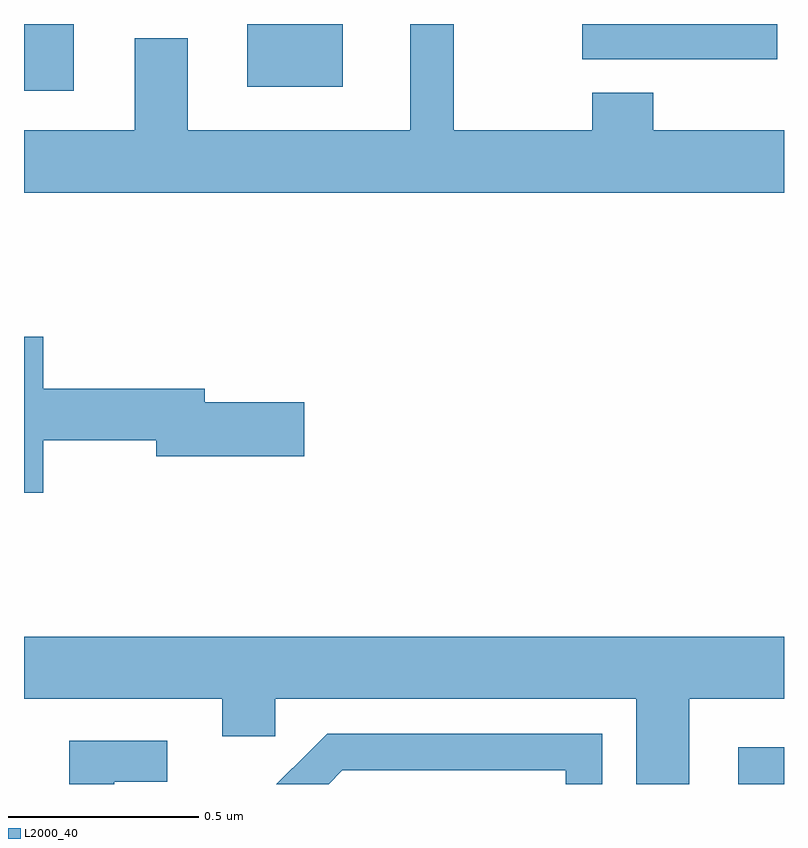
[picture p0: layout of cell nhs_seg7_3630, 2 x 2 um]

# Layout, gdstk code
import gdstk
lib = gdstk.Library(unit=1e-6, precision=1e-09)
def R(c, l, rs):  # rectangles x0, y0, x1, y1
    for r in rs: c.add(gdstk.rectangle(r[:2], r[2:], *l))
def P(c, l, *ps):  # polygons
    for p in ps: c.add(gdstk.Polygon(p, *l))
L2000_40 = (2000, 40)

nhs_seg7_3630 = lib.new_cell('nhs_seg7_3630')
R(nhs_seg7_3630, L2000_40, [(162.879,1059,163,1059.097), (161,1060.824,161.131,1061), (161.588,1060.835,161.839,1061), (162.469,1060.907,162.982,1061)])
P(nhs_seg7_3630, L2000_40, [(163,1060.72),(162.656,1060.72),(162.656,1060.819),(162.496,1060.819),(162.496,1060.72),(162.131,1060.72),(162.131,1061),(162.017,1061),(162.017,1060.72),(161.431,1060.72),(161.431,1060.963),(161.291,1060.963),(161.291,1060.72),(161,1060.72),(161,1060.556),(163,1060.556)],
  [(161.05,1059.904),(161.348,1059.904),(161.348,1059.862),(161.737,1059.862),(161.737,1060.004),(161.476,1060.004),(161.476,1060.04),(161.05,1060.04),(161.05,1060.177),(161,1060.177),(161,1059.767),(161.05,1059.767)],
  [(162.751,1059.224),(163,1059.224),(163,1059.388),(161,1059.388),(161,1059.224),(161.522,1059.224),(161.522,1059.126),(161.661,1059.126),(161.661,1059.224),(162.611,1059.224),(162.611,1059),(162.751,1059)],
  [(161.838,1059.036),(162.425,1059.036),(162.425,1059),(162.522,1059),(162.522,1059.132),(161.798,1059.132),(161.707,1059.041),(161.706,1059.042),(161.664,1059),(161.802,1059)],
  [(161.237,1059.006),(161.377,1059.006),(161.377,1059.114),(161.119,1059.114),(161.119,1059),(161.237,1059)])

lib.write_gds('nhs_seg7_3630.gds')
